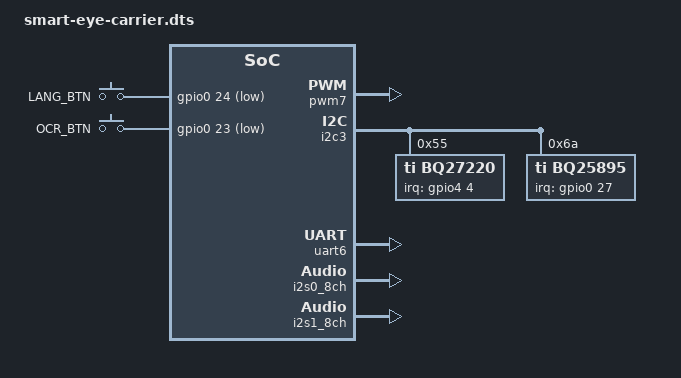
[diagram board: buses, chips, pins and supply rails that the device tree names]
/dts-v1/;
/plugin/;

/ {
	metadata {
		title = "Smart Eye Custom Carrier Board";
		compatible = "radxa,cm5-io";
		category = "misc";
		exclusive = "GPIO4_B3\0GPIO3_B7\0GPIO3_C0\0GPIO4_A4\0GPIO1_D1\0GPIO1_D0\0GPIO0_D3\0GPIO0_D0\0GPIO0_C7\0GPIO4_A3\0GPIO4_A1\0GPIO4_A2\0GPIO4_B2";
		description = "Enable peripherals for Smart Eye custom carrier board:\n  - PWM15-M1 (GPIO4_B3) vibration motor\n  - I2C3-M1 (GPIO3_B7 SCL / GPIO3_C0 SDA) BQ27220 fuel gauge + BQ25895 charger\n  - GPIO4_A4 fuel gauge GPOUT interrupt\n  - UART6-M2 (GPIO1_D1 TX / GPIO1_D0 RX) serial\n  - GPIO0_D3 CHG_INT0_L charger interrupt\n  - GPIO0_D0 LANG_BTN, GPIO0_C7 OCR_BTN\n  - Speaker: MAX98357A on I2S1-M0 (SD_MODE via BSS138 on GPIO4_A3)\n  - Headphone: ES8316 codec on I2S0 + I2C8-M2 (hp-det-gpio jack detect)\n  - I2S1 trcm-sync-tx-only: BCLK+LRCLK stop together (DC protection)";
	};

	/*
	 * Vibration motor on GPIO4_B3.
	 *
	 * In the Radxa BSP DTS the PWM controller at 0xfebd0030 is
	 * labeled "pwm7", NOT "pwm15". The "pwm15" symbol points to
	 * 0xfebf0030 which is a completely different PWM block.
	 * GPIO4_B3 muxes to the controller at febd0030, so we must
	 * target &pwm7 with &pwm7m1_pins.
	 */
	fragment@0 {
		target = <&pwm7>;
		__overlay__ {
			status = "okay";
			pinctrl-names = "default";
			pinctrl-0 = <&pwm7m1_pins>;
		};
	};

	/*
	 * I2C3-M1: Power management ICs on GPIO3_B7 (SCL) / GPIO3_C0 (SDA)
	 *   0x55 - BQ27220YZFR  fuel gauge (U20)
	 *   0x6A - BQ25895RTWR  charger    (U2)
	 */
	fragment@1 {
		target = <&i2c3>;
		__overlay__ {
			status = "okay";
			pinctrl-names = "default";
			pinctrl-0 = <&i2c3m1_xfer>;
			#address-cells = <1>;
			#size-cells = <0>;

			bq27220: fuel-gauge@55 {
				compatible = "ti,bq27220";
				reg = <0x55>;
				pinctrl-names = "default";
				pinctrl-0 = <&bq27220_int>;
				interrupt-parent = <&gpio4>;
				interrupts = <4 2>; /* GPIO4_A4, IRQ_TYPE_EDGE_FALLING */
			};

			bq25895: charger@6a {
				compatible = "ti,bq25895";
				reg = <0x6a>;
				pinctrl-names = "default";
				pinctrl-0 = <&chg_int0>;
				interrupt-parent = <&gpio0>;
				interrupts = <27 2>; /* GPIO0_D3, IRQ_TYPE_EDGE_FALLING */
				ti,battery-regulation-voltage = <4208000>; /* uV */
				ti,charge-current = <2048000>;             /* uA */
				ti,termination-current = <256000>;         /* uA */
				ti,precharge-current = <256000>;           /* uA */
				ti,minimum-sys-voltage = <3500000>;        /* uV */
				ti,boost-voltage = <5126000>;              /* uV */
				ti,boost-max-current = <1400000>;          /* uA */
			};
		};
	};

	/* GPIO pin configurations for interrupts, buttons, and audio */
	fragment@2 {
		target = <&pinctrl>;
		__overlay__ {
			bq27220 {
				bq27220_int: bq27220-int {
					rockchip,pins = <4 4 0 &pcfg_pull_up>;
				};
			};
			charger {
				chg_int0: chg-int0 {
					rockchip,pins = <0 27 0 &pcfg_pull_up>;
				};
			};
			buttons {
				lang_btn: lang-btn {
					rockchip,pins = <0 24 0 &pcfg_pull_up>;
				};
				ocr_btn: ocr-btn {
					rockchip,pins = <0 23 0 &pcfg_pull_up>;
				};
			};
			audio-amp {
				amp_sd_pin: amp-sd-pin {
					rockchip,pins = <4 3 0 &pcfg_pull_none>;
				};
			};
		};
	};

	/* UART6-M2: Serial port on GPIO1_D1 (TX) / GPIO1_D0 (RX) */
	fragment@3 {
		target = <&uart6>;
		__overlay__ {
			status = "okay";
			pinctrl-names = "default";
			pinctrl-0 = <&uart6m2_xfer>;
		};
	};

	/* GPIO keys: LANG_BTN (GPIO0_D0) and OCR_BTN (GPIO0_C7) */
	fragment@4 {
		target-path = "/";
		__overlay__ {
			smart-eye-keys {
				compatible = "gpio-keys";
				pinctrl-names = "default";
				pinctrl-0 = <&lang_btn &ocr_btn>;

				lang-button {
					label = "LANG_BTN";
					linux,code = <0x100>; /* BTN_MISC */
					gpios = <&gpio0 24 1>; /* GPIO0_D0, active low */
					debounce-interval = <50>;
				};

				ocr-button {
					label = "OCR_BTN";
					linux,code = <0x101>; /* BTN_1 */
					gpios = <&gpio0 23 1>; /* GPIO0_C7, active low */
					debounce-interval = <50>;
				};
			};

			/*
			 * MAX98357A speaker amplifier (I2S DAC, no I2C).
			 *
			 * SD_MODE is NOT managed by the kernel driver here.
			 * The kernel's DAPM shutdown path leaves I2S BCLK
			 * running for ~3 s after the PCM stream closes,
			 * creating the dangerous BCLK-without-LRCLK state
			 * that produces DC on the speaker outputs.
			 *
			 * Instead, the application (main.py AudioPlayer)
			 * controls GPIO4_A3 via sysfs, pulling SD_MODE LOW
			 * the instant aplay exits — before the I2S clocks
			 * enter the invalid state.
			 */
			max98357a: max98357a {
				compatible = "maxim,max98357a";
				#sound-dai-cells = <0>;
				pinctrl-names = "default";
				pinctrl-0 = <&amp_sd_pin>;
				status = "okay";
			};
		};
	};

	/*
	 * Re-enable the CM5-IO es8316-sound card and I2S0 controller.
	 * ES8316 codec on I2C8-M2 (0x11) provides headphone output
	 * via I2S0.  I2S0 has its own pins (separate from I2S1 which
	 * drives the MAX98357A speaker).  Both can coexist.
	 *
	 * The base DTB es8316-sound node already has hp-det-gpio
	 * for jack detection.  We just ensure both are enabled.
	 */
	fragment@5 {
		target-path = "/es8316-sound";
		__overlay__ {
			status = "okay";
		};
	};

	fragment@5a {
		target = <&i2s0_8ch>;
		__overlay__ {
			status = "okay";
		};
	};

	/*
	 * Enable I2S1 (fe480000) with m0 pinctrl.
	 * SDO1 (GPIO4_B2) carries audio data to MAX98357A DIN via R43.
	 * i2s-tx-route swaps SDO0/SDO1 so stereo data goes out SDO1.
	 *
	 * Delete i2s-lrck-gpio from base DTB -- the BSP driver uses it
	 * to monitor LRCK via GPIO, which conflicts with driving LRCK
	 * as I2S output in CPU-master mode.
	 *
	 * rockchip,trcm-sync-tx-only forces the I2S controller to stop
	 * both BCLK and LRCK simultaneously when TX stops, preventing
	 * the dangerous state where BCLK free-runs after LRCLK drops.
	 */
	fragment@6 {
		target = <&i2s1_8ch>;
		__overlay__ {
			status = "okay";
			/delete-property/ i2s-lrck-gpio;
			rockchip,i2s-tx-route = <1 0 2 3>;
			rockchip,i2s-rx-route = <0 1 2 3>;
			rockchip,trcm-sync-tx-only;
			pinctrl-names = "default";
			pinctrl-0 = <&i2s1m0_sclk
				     &i2s1m0_lrck
				     &i2s1m0_sdi0
				     &i2s1m0_sdo1>;
		};
	};

	/*
	 * Speaker sound card via MAX98357A on I2S1.
	 * CPU (I2S1) is bitclock + frame master.
	 */
	fragment@7 {
		target-path = "/";
		__overlay__ {
			smart-eye-sound {
				status = "okay";
				compatible = "simple-audio-card";
				simple-audio-card,name = "Smart-Eye-Audio";
				simple-audio-card,format = "i2s";
				simple-audio-card,mclk-fs = <256>;
				simple-audio-card,bitclock-master = <&spk_cpu>;
				simple-audio-card,frame-master = <&spk_cpu>;

				spk_cpu: simple-audio-card,cpu {
					sound-dai = <&i2s1_8ch>;
				};

				simple-audio-card,codec {
					sound-dai = <&max98357a>;
				};
			};
		};
	};
};
